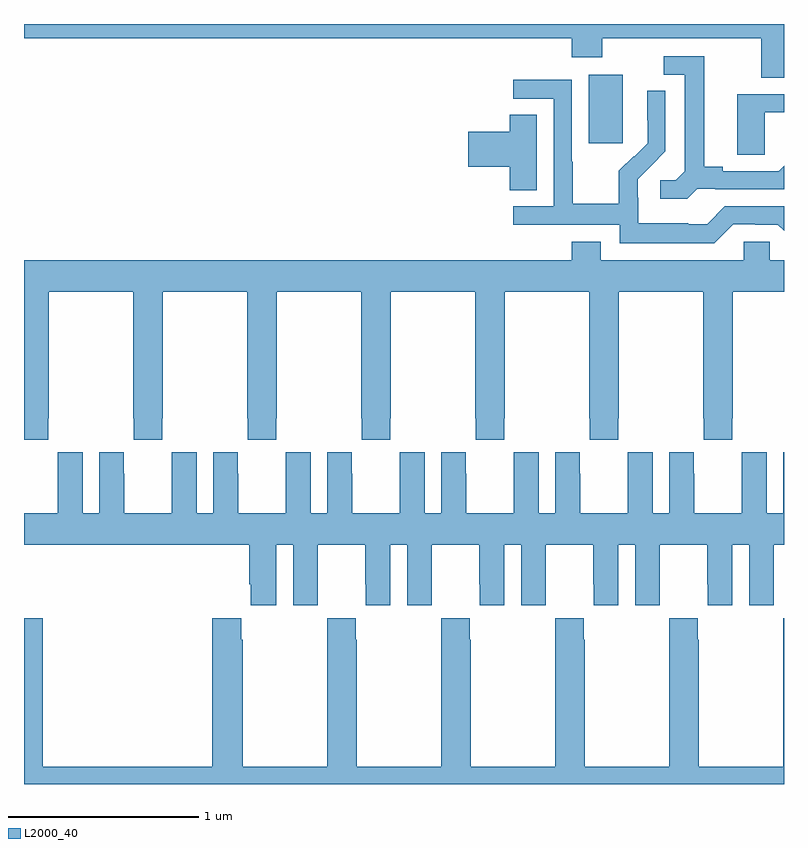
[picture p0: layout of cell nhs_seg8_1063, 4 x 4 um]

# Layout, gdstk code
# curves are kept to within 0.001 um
import gdstk
lib = gdstk.Library(unit=1e-6, precision=1e-09)
def R(c, l, rs):  # rectangles x0, y0, x1, y1
    for r in rs: c.add(gdstk.rectangle(r[:2], r[2:], *l))
def P(c, l, *ps):  # polygons
    for p in ps: c.add(gdstk.Polygon(p, *l))
L2000_40 = (2000, 40)

nhs_seg8_1063 = lib.new_cell('nhs_seg8_1063')
R(nhs_seg8_1063, L2000_40, [(181.973,1125.273,182.152,1125.634)])
P(nhs_seg8_1063, L2000_40, [(183,1125.9),(179,1125.9),(179,1125.824),(181.883,1125.824),(181.883,1125.725),(182.043,1125.725),(182.043,1125.824),(182.879,1125.824),(182.879,1125.616),(183,1125.616)],
  [(182.544,1125.033),(182.638,1125.033),(182.638,1125.03),(183,1125.03),(183,1125.154),(182.972,1125.126),(182.677,1125.126),(182.677,1125.149),(182.581,1125.149),(182.581,1125.729),(182.367,1125.729),(182.367,1125.633),(182.477,1125.633),(182.477,1125.125),(182.43,1125.078),(182.349,1125.078),(182.349,1124.981),(182.492,1124.981)],
  [(182.733,1124.847),(182.849,1124.847),(182.849,1124.844),(182.967,1124.844),(183,1124.811),(183,1124.94),(182.688,1124.94),(182.595,1124.847),(182.495,1124.847),(182.495,1124.851),(182.232,1124.851),(182.232,1124.985),(182.23,1124.985),(182.23,1125.082),(182.376,1125.23),(182.376,1125.548),(182.28,1125.548),(182.28,1125.394),(182.282,1125.394),(182.282,1125.272),(182.211,1125.201),(182.208,1125.204),(182.131,1125.127),(182.131,1124.953),(181.887,1124.953),(181.887,1125.176),(181.884,1125.176),(181.884,1125.606),(181.575,1125.606),(181.575,1125.507),(181.788,1125.507),(181.788,1124.94),(181.575,1124.94),(181.575,1124.844),(182.136,1124.844),(182.136,1124.747),(182.633,1124.747)],
  [(182.898,1125.435),(183,1125.435),(183,1125.531),(182.753,1125.531),(182.753,1125.211),(182.898,1125.211)],
  [(181.699,1125.422),(181.556,1125.422),(181.556,1125.332),(181.338,1125.332),(181.338,1125.149),(181.556,1125.149),(181.556,1125.025),(181.699,1125.025)],
  [(179.127,1123.825),(179.13,1123.825),(179.13,1124.492),(179.575,1124.492),(179.575,1123.825),(179.577,1123.825),(179.577,1123.713),(179.727,1123.713),(179.727,1123.825),(179.73,1123.825),(179.73,1124.492),(180.175,1124.492),(180.175,1123.825),(180.177,1123.825),(180.177,1123.713),(180.327,1123.713),(180.327,1123.825),(180.33,1123.825),(180.33,1124.492),(180.775,1124.492),(180.775,1123.825),(180.777,1123.825),(180.777,1123.713),(180.927,1123.713),(180.927,1123.825),(180.93,1123.825),(180.93,1124.492),(181.375,1124.492),(181.375,1123.825),(181.377,1123.825),(181.377,1123.713),(181.527,1123.713),(181.527,1123.825),(181.53,1123.825),(181.53,1124.492),(181.975,1124.492),(181.975,1123.825),(181.977,1123.825),(181.977,1123.713),(182.127,1123.713),(182.127,1123.825),(182.13,1123.825),(182.13,1124.492),(182.575,1124.492),(182.575,1123.825),(182.577,1123.825),(182.577,1123.713),(182.727,1123.713),(182.727,1123.825),(182.73,1123.825),(182.73,1124.492),(183,1124.492),(183,1124.656),(182.925,1124.656),(182.925,1124.754),(182.787,1124.754),(182.787,1124.656),(182.035,1124.656),(182.035,1124.755),(181.883,1124.755),(181.883,1124.656),(179,1124.656),(179,1123.713),(179.127,1123.713)],
  [(180.185,1122.952),(180.194,1122.952),(180.194,1122.84),(180.328,1122.84),(180.328,1123.16),(180.416,1123.16),(180.416,1122.84),(180.546,1122.84),(180.546,1122.952),(180.547,1122.952),(180.547,1123.16),(180.797,1123.16),(180.797,1122.952),(180.798,1122.952),(180.798,1122.84),(180.928,1122.84),(180.928,1123.16),(181.016,1123.16),(181.016,1122.84),(181.146,1122.84),(181.146,1122.952),(181.147,1122.952),(181.147,1123.16),(181.397,1123.16),(181.397,1122.952),(181.398,1122.952),(181.398,1122.84),(181.528,1122.84),(181.528,1123.16),(181.616,1123.16),(181.616,1122.84),(181.746,1122.84),(181.746,1122.952),(181.747,1122.952),(181.747,1123.16),(181.997,1123.16),(181.997,1122.952),(181.998,1122.952),(181.998,1122.84),(182.128,1122.84),(182.128,1123.16),(182.216,1123.16),(182.216,1122.84),(182.346,1122.84),(182.346,1122.952),(182.347,1122.952),(182.347,1123.16),(182.597,1123.16),(182.597,1122.952),(182.598,1122.952),(182.598,1122.84),(182.728,1122.84),(182.728,1123.16),(182.816,1123.16),(182.816,1122.84),(182.946,1122.84),(182.946,1122.952),(182.947,1122.952),(182.947,1123.16),(183,1123.16),(183,1123.645),(182.996,1123.645),(182.996,1123.324),(182.908,1123.324),(182.908,1123.645),(182.778,1123.645),(182.778,1123.532),(182.777,1123.532),(182.777,1123.324),(182.527,1123.324),(182.527,1123.532),(182.526,1123.532),(182.526,1123.645),(182.396,1123.645),(182.396,1123.324),(182.308,1123.324),(182.308,1123.645),(182.178,1123.645),(182.178,1123.532),(182.177,1123.532),(182.177,1123.324),(181.927,1123.324),(181.927,1123.532),(181.926,1123.532),(181.926,1123.645),(181.796,1123.645),(181.796,1123.324),(181.708,1123.324),(181.708,1123.645),(181.578,1123.645),(181.578,1123.532),(181.577,1123.532),(181.577,1123.324),(181.327,1123.324),(181.327,1123.532),(181.326,1123.532),(181.326,1123.645),(181.196,1123.645),(181.196,1123.324),(181.108,1123.324),(181.108,1123.645),(180.978,1123.645),(180.978,1123.532),(180.977,1123.532),(180.977,1123.324),(180.727,1123.324),(180.727,1123.532),(180.726,1123.532),(180.726,1123.645),(180.596,1123.645),(180.596,1123.324),(180.508,1123.324),(180.508,1123.645),(180.378,1123.645),(180.378,1123.532),(180.377,1123.532),(180.377,1123.324),(180.127,1123.324),(180.127,1123.532),(180.126,1123.532),(180.126,1123.645),(179.996,1123.645),(179.996,1123.324),(179.908,1123.324),(179.908,1123.645),(179.778,1123.645),(179.778,1123.532),(179.777,1123.532),(179.777,1123.324),(179.527,1123.324),(179.527,1123.532),(179.526,1123.532),(179.526,1123.645),(179.396,1123.645),(179.396,1123.324),(179.308,1123.324),(179.308,1123.645),(179.178,1123.645),(179.178,1123.532),(179.177,1123.532),(179.177,1123.324),(179,1123.324),(179,1123.16),(180.185,1123.16)],
  [(183,1122.772),(182.997,1122.772),(182.997,1122.659),(182.995,1122.659),(182.995,1121.992),(182.55,1121.992),(182.55,1122.659),(182.547,1122.659),(182.547,1122.772),(182.397,1122.772),(182.397,1122.659),(182.395,1122.659),(182.395,1121.992),(181.95,1121.992),(181.95,1122.659),(181.947,1122.659),(181.947,1122.772),(181.797,1122.772),(181.797,1122.659),(181.795,1122.659),(181.795,1121.992),(181.35,1121.992),(181.35,1122.659),(181.347,1122.659),(181.347,1122.772),(181.197,1122.772),(181.197,1122.659),(181.195,1122.659),(181.195,1121.992),(180.75,1121.992),(180.75,1122.659),(180.747,1122.659),(180.747,1122.772),(180.597,1122.772),(180.597,1122.659),(180.595,1122.659),(180.595,1121.992),(180.15,1121.992),(180.15,1122.659),(180.143,1122.659),(180.143,1122.772),(179.99,1122.772),(179.99,1121.992),(179.099,1121.992),(179.099,1122.772),(179,1122.772),(179,1121.9),(183,1121.9)])

lib.write_gds('nhs_seg8_1063.gds')
